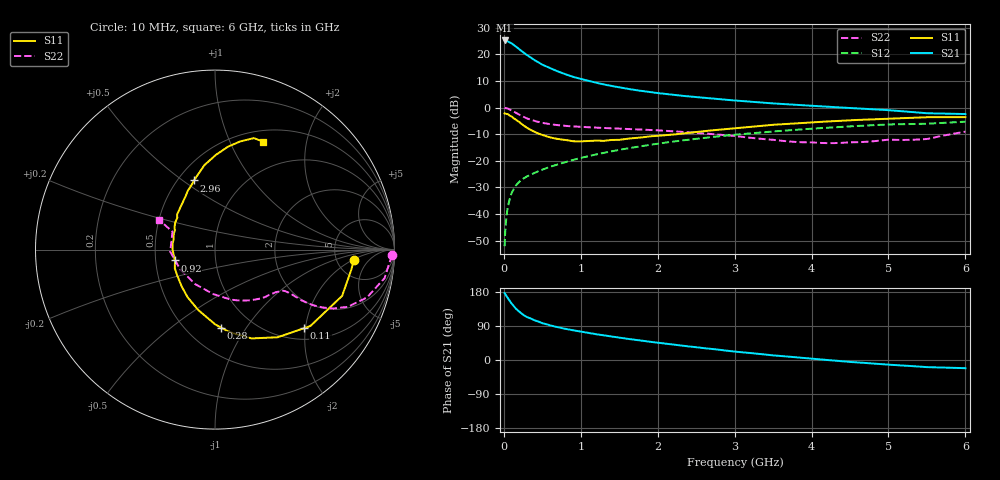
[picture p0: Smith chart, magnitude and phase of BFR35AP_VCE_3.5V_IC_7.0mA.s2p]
! Infineon Technologies  Discrete & RF Semiconductors
! BFR35AP
! VCE =  3.5 V,  IC =  7.0 mA
! Common Emitter S-Parameters:  Nov 2015
# GHz  S  MA  R  50
!  f  S11  S21  S12  S22
! GHz  MAG  ANG  MAG  ANG  MAG  ANG  MAG  ANG
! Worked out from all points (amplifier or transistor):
!   210 points, 10 MHz to 6 GHz, reference 50 ohm
!   highest |S21| = 25.2 dB at 10 MHz (marker M1)
!   |S21| within 3 dB of that: start of sweep to 187.7 MHz
!   unconditionally stable (mu >= 1): 688.3 MHz to 3.399 GHz
!   at 185 MHz: K = 0.46, MSG = 25.3 dB, |S12| = -28.4 dB
!   at 1.52 GHz: K = 1.12, MAG = 9.6 dB, |S12| = -15.8 dB
!   at 6 GHz: K = 0.95, MSG = 1.4 dB, |S12| = -5.3 dB
!   S11 on the Smith chart (normalised r, x): 10 MHz: 7.32, -2.09; 110 MHz: 1.26, -1.96; 280 MHz: 0.72, -0.78; 920 MHz: 0.63, -0.08; 2.96 GHz: 0.60, +0.55; 6 GHz: 0.63, +1.34
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0.01  0.7761 -4.2  18.13 176.6  0.0025 86.8  0.9891 -1.9
0.025  0.7633 -10.2  17.9 171.5  0.0066 85.6  0.9725 -4.9
0.05  0.7538 -20.0  17.52 163.6  0.013 79.5  0.9579 -9.6
0.1  0.6809 -38.7  16.08 149.2  0.0247 72.6  0.8877 -17.5
0.11  0.6612 -41.5  15.65 146.9  0.0264 70.8  0.8708 -18.6
0.15  0.6006 -54.4  14.18 136.5  0.0334 65.4  0.8065 -23.3
0.16  0.5852 -56.8  13.81 134.8  0.0348 64.7  0.7922 -23.9
0.22  0.5062 -72.1  11.81 124.3  0.0426 61.3  0.7106 -27.3
0.28  0.4362 -85.5  10.15 115.9  0.0489 59.9  0.6431 -29.2
0.3  0.417 -89.8  9.656 113.3  0.0508 59.7  0.6232 -29.7
0.4  0.3491 -105.6  7.734 104.7  0.0596 58.7  0.5585 -30.4
0.5  0.3057 -120.1  6.372 97.2  0.0682 59.3  0.5156 -30.3
0.7  0.2572 -144.4  4.761 86.5  0.0855 60.8  0.4663 -30.4
0.92  0.2323 -165.0  3.692 77.7  0.1057 61.0  0.4404 -31.4
1.02  0.2323 -174.2  3.379 74.1  0.115 61.1  0.4323 -32.3
1.4  0.2461 159.1  2.537 61.9  0.1504 60.2  0.4073 -36.5
2.02  0.2961 132.6  1.852 45.2  0.2114 55.6  0.3716 -47.2
2.96  0.4025 106.8  1.37 23.2  0.3045 46.0  0.2954 -71.1
3.1  0.4199 104.1  1.32 20.4  0.3175 44.1  0.2809 -75.9
4.1  0.5368 88.1  1.057 1.7  0.409 31.7  0.217 -125.8
5.1  0.6252 75.7  0.869 -13.5  0.4838 17.7  0.2471 177.6
6  0.6588 65.8  0.754 -21.6  0.5421 7.4  0.3523 152.0
